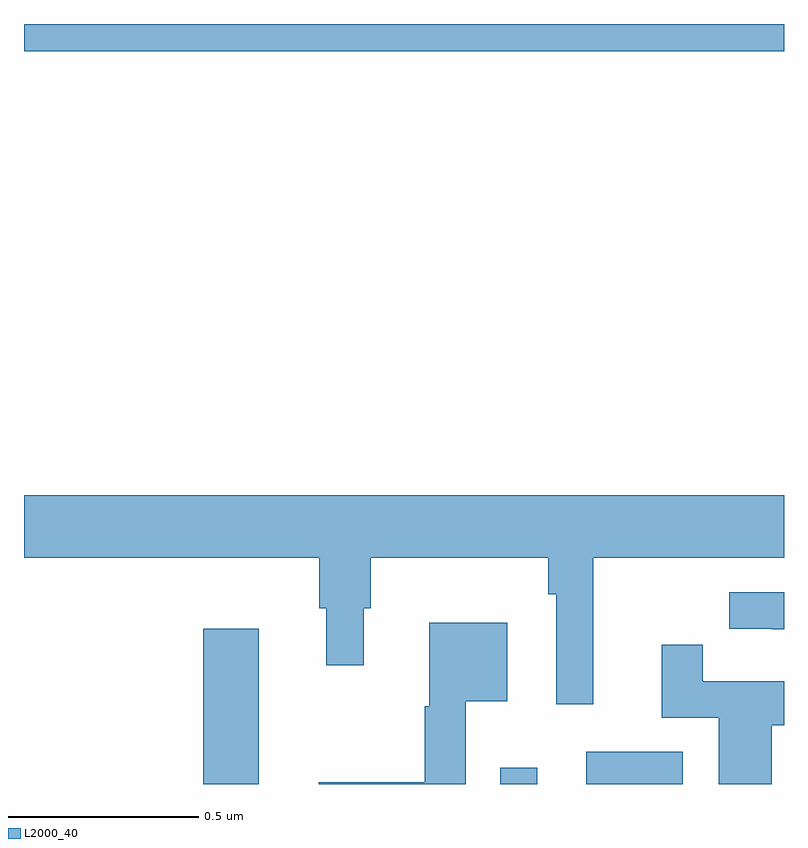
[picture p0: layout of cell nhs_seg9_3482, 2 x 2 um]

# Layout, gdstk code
import gdstk
lib = gdstk.Library(unit=1e-6, precision=1e-09)
def R(c, l, rs):  # rectangles x0, y0, x1, y1
    for r in rs: c.add(gdstk.rectangle(r[:2], r[2:], *l))
def P(c, l, *ps):  # polygons
    for p in ps: c.add(gdstk.Polygon(p, *l))
L2000_40 = (2000, 40)

nhs_seg9_3482 = lib.new_cell('nhs_seg9_3482')
R(nhs_seg9_3482, L2000_40, [(154.472,1186.5,154.618,1186.909), (155.253,1186.5,155.35,1186.543), (155.48,1186.5,155.734,1186.585), (154,1188.428,156,1188.5)])
P(nhs_seg9_3482, L2000_40, [(155.498,1187.096),(156,1187.096),(156,1187.26),(154,1187.26),(154,1187.096),(154.777,1187.096),(154.777,1186.962),(154.796,1186.962),(154.796,1186.812),(154.894,1186.812),(154.894,1186.962),(154.913,1186.962),(154.913,1187.096),(155.38,1187.096),(155.38,1187),(155.4,1187),(155.4,1186.71),(155.498,1186.71)],
  [(156,1187.004),(155.856,1187.004),(155.856,1186.908),(155.968,1186.908),(155.968,1186.907),(156,1186.907)],
  [(155.163,1186.718),(155.272,1186.718),(155.272,1186.924),(155.066,1186.924),(155.066,1186.704),(155.055,1186.704),(155.055,1186.505),(154.776,1186.505),(154.776,1186.5),(155.163,1186.5)],
  [(155.968,1186.654),(156,1186.654),(156,1186.77),(155.786,1186.77),(155.786,1186.867),(155.678,1186.867),(155.678,1186.674),(155.828,1186.674),(155.828,1186.5),(155.968,1186.5)])

lib.write_gds('nhs_seg9_3482.gds')
